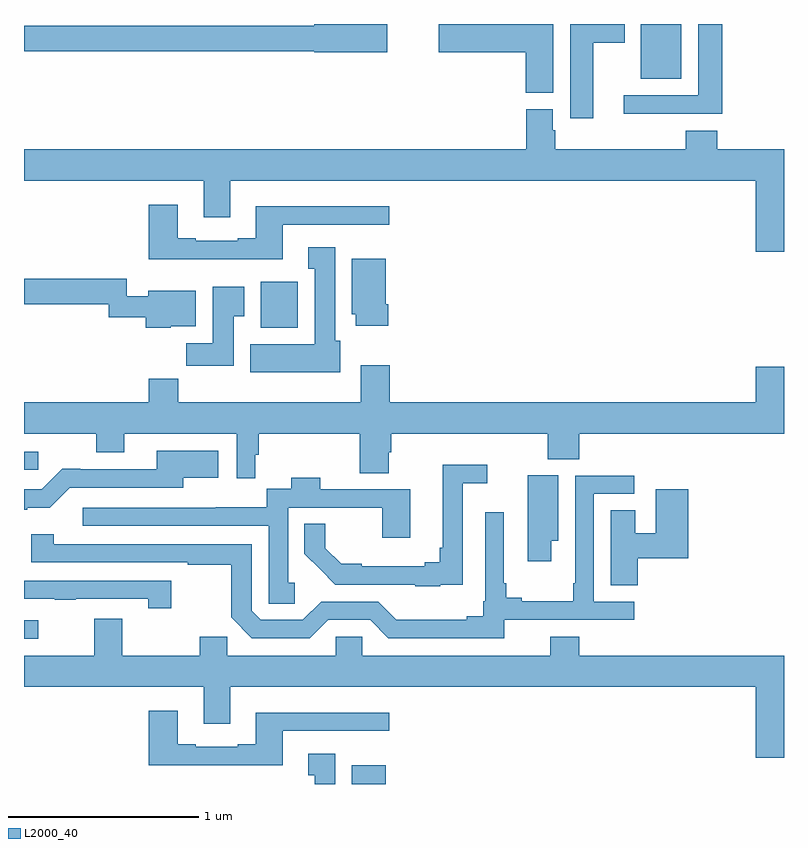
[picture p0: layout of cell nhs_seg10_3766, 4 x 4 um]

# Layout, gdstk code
import gdstk
lib = gdstk.Library(unit=1e-6, precision=1e-09)
def R(c, l, rs):  # rectangles x0, y0, x1, y1
    for r in rs: c.add(gdstk.rectangle(r[:2], r[2:], *l))
def P(c, l, *ps):  # polygons
    for p in ps: c.add(gdstk.Polygon(p, *l))
L2000_40 = (2000, 40)

nhs_seg10_3766 = lib.new_cell('nhs_seg10_3766')
R(nhs_seg10_3766, L2000_40, [(318.725,1270.5,318.904,1270.6), (317,1271.265,317.074,1271.361), (317,1272.153,317.074,1272.249), (318.245,1272.902,318.442,1273.144), (320.246,1274.213,320.458,1274.5)])
P(nhs_seg10_3766, L2000_40, [(319.996,1274.402),(320.161,1274.402),(320.161,1274.5),(319.874,1274.5),(319.874,1274.004),(319.996,1274.004)],
  [(320.675,1274.5),(320.549,1274.5),(320.549,1274.124),(320.157,1274.124),(320.157,1274.027),(320.675,1274.027)],
  [(319.786,1274.5),(319.64,1274.5),(319.64,1274.498),(319.182,1274.498),(319.182,1274.351),(319.64,1274.351),(319.64,1274.137),(319.786,1274.137)],
  [(318.913,1274.498),(318.528,1274.498),(318.528,1274.492),(317,1274.492),(317,1274.356),(318.528,1274.356),(318.528,1274.351),(318.913,1274.351)],
  [(321,1273.84),(320.648,1273.84),(320.648,1273.939),(320.483,1273.939),(320.483,1273.84),(319.796,1273.84),(319.796,1273.941),(319.783,1273.941),(319.783,1274.052),(319.643,1274.052),(319.643,1273.84),(317,1273.84),(317,1273.676),(317.945,1273.676),(317.945,1273.482),(318.085,1273.482),(318.085,1273.676),(320.852,1273.676),(320.852,1273.302),(321,1273.302)],
  [(318.361,1273.443),(318.922,1273.443),(318.922,1273.54),(318.221,1273.54),(318.221,1273.372),(318.125,1273.372),(318.125,1273.359),(317.905,1273.359),(317.905,1273.372),(317.809,1273.372),(317.809,1273.549),(317.657,1273.549),(317.657,1273.262),(318.361,1273.262)],
  [(318.664,1272.834),(318.637,1272.834),(318.637,1273.324),(318.497,1273.324),(318.497,1273.211),(318.53,1273.211),(318.53,1272.814),(318.191,1272.814),(318.191,1272.668),(318.664,1272.668)],
  [(318.917,1273.024),(318.904,1273.024),(318.904,1273.264),(318.725,1273.264),(318.725,1272.972),(318.746,1272.972),(318.746,1272.912),(318.917,1272.912)],
  [(317.772,1272.908),(317.905,1272.908),(317.905,1273.096),(317.654,1273.096),(317.654,1273.067),(317.541,1273.067),(317.541,1273.16),(317,1273.16),(317,1273.024),(317.445,1273.024),(317.445,1272.957),(317.642,1272.957),(317.642,1272.902),(317.772,1272.902)],
  [(318.103,1272.961),(318.16,1272.961),(318.16,1273.117),(317.993,1273.117),(317.993,1272.82),(317.854,1272.82),(317.854,1272.702),(318.103,1272.702)],
  [(318.217,1272.234),(318.236,1272.234),(318.236,1272.344),(318.767,1272.344),(318.767,1272.136),(318.919,1272.136),(318.919,1272.246),(318.932,1272.246),(318.932,1272.344),(319.757,1272.344),(319.757,1272.21),(319.922,1272.21),(319.922,1272.344),(321,1272.344),(321,1272.697),(320.852,1272.697),(320.852,1272.508),(318.926,1272.508),(318.926,1272.703),(318.773,1272.703),(318.773,1272.508),(317.813,1272.508),(317.813,1272.632),(317.657,1272.632),(317.657,1272.508),(317,1272.508),(317,1272.344),(317.38,1272.344),(317.38,1272.245),(317.527,1272.245),(317.527,1272.344),(318.12,1272.344),(318.12,1272.108),(318.217,1272.108)],
  [(317.016,1271.954),(317.135,1271.954),(317.241,1272.06),(317.839,1272.06),(317.839,1272.113),(318.022,1272.113),(318.022,1272.253),(317.699,1272.253),(317.699,1272.156),(317.296,1272.156),(317.296,1272.158),(317.201,1272.158),(317.094,1272.051),(317,1272.051),(317,1271.943),(317.016,1271.943)],
  [(319.191,1271.549),(319.309,1271.549),(319.309,1272.083),(319.438,1272.083),(319.438,1272.181),(319.205,1272.181),(319.205,1271.743),(319.188,1271.743),(319.188,1271.666),(319.109,1271.666),(319.109,1271.647),(318.778,1271.647),(318.778,1271.658),(318.669,1271.658),(318.586,1271.741),(318.586,1271.87),(318.476,1271.87),(318.476,1271.713),(318.56,1271.63),(318.559,1271.629),(318.638,1271.55),(319.059,1271.55),(319.059,1271.54),(319.191,1271.54)],
  [(319.774,1271.78),(319.813,1271.78),(319.813,1272.124),(319.652,1272.124),(319.652,1271.673),(319.774,1271.673)],
  [(318.6,1271.364),(318.822,1271.364),(318.918,1271.268),(319.527,1271.268),(319.527,1271.364),(320.212,1271.364),(320.212,1271.46),(319.998,1271.46),(319.998,1272.027),(320.212,1272.027),(320.212,1272.123),(319.902,1272.123),(319.902,1271.557),(319.89,1271.557),(319.89,1271.462),(319.621,1271.462),(319.621,1271.48),(319.537,1271.48),(319.537,1271.557),(319.524,1271.557),(319.524,1271.929),(319.428,1271.929),(319.428,1271.461),(319.416,1271.461),(319.416,1271.384),(319.331,1271.384),(319.331,1271.365),(318.959,1271.365),(318.864,1271.46),(318.564,1271.46),(318.468,1271.364),(318.246,1271.364),(318.198,1271.412),(318.198,1271.763),(317.157,1271.763),(317.157,1271.815),(317.037,1271.815),(317.037,1271.667),(317.863,1271.667),(317.863,1271.655),(318.09,1271.655),(318.09,1271.377),(318.198,1271.268),(318.504,1271.268)],
  [(318.426,1271.56),(318.391,1271.56),(318.391,1271.955),(318.643,1271.955),(318.643,1271.954),(318.886,1271.954),(318.886,1271.796),(319.033,1271.796),(319.033,1272.051),(318.56,1272.051),(318.56,1272.112),(318.407,1272.112),(318.407,1272.055),(318.278,1272.055),(318.278,1271.956),(318.009,1271.956),(318.009,1271.955),(317.31,1271.955),(317.31,1271.859),(318.287,1271.859),(318.287,1271.557),(318.288,1271.557),(318.288,1271.449),(318.426,1271.449)],
  [(320.231,1271.687),(320.495,1271.687),(320.495,1272.052),(320.324,1272.052),(320.324,1271.821),(320.218,1271.821),(320.218,1271.942),(320.087,1271.942),(320.087,1271.545),(320.231,1271.545)],
  [(317.776,1271.571),(317,1271.571),(317,1271.475),(317.161,1271.475),(317.161,1271.47),(317.273,1271.47),(317.273,1271.475),(317.655,1271.475),(317.655,1271.424),(317.776,1271.424)],
  [(321,1271.176),(319.922,1271.176),(319.922,1271.275),(319.769,1271.275),(319.769,1271.176),(318.78,1271.176),(318.78,1271.274),(318.642,1271.274),(318.642,1271.176),(318.071,1271.176),(318.071,1271.274),(317.926,1271.274),(317.926,1271.176),(317.517,1271.176),(317.517,1271.371),(317.369,1271.371),(317.369,1271.176),(317,1271.176),(317,1271.012),(317.945,1271.012),(317.945,1270.818),(318.085,1270.818),(318.085,1271.012),(320.852,1271.012),(320.852,1270.638),(321,1270.638)],
  [(318.361,1270.779),(318.922,1270.779),(318.922,1270.876),(318.221,1270.876),(318.221,1270.708),(318.125,1270.708),(318.125,1270.695),(317.905,1270.695),(317.905,1270.708),(317.809,1270.708),(317.809,1270.885),(317.657,1270.885),(317.657,1270.598),(318.361,1270.598)],
  [(318.637,1270.66),(318.497,1270.66),(318.497,1270.547),(318.53,1270.547),(318.53,1270.5),(318.637,1270.5)])

lib.write_gds('nhs_seg10_3766.gds')
